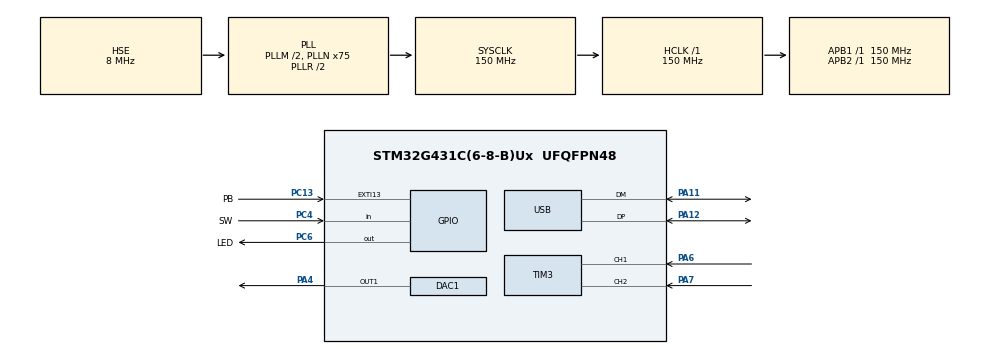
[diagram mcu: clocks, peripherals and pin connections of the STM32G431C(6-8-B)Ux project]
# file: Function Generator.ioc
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DAC1.DAC_OutputBuffer-DAC_OUT1=DAC_OUTPUTBUFFER_DISABLE
DAC1.DAC_Trigger_OUT1-DAC_OUT1=DAC_TRIGGER_T2_TRGO
Dma.DAC1_CH1.0.Direction=DMA_MEMORY_TO_PERIPH
Dma.DAC1_CH1.0.EventEnable=DISABLE
Dma.DAC1_CH1.0.Instance=DMA1_Channel1
Dma.DAC1_CH1.0.MemDataAlignment=DMA_MDATAALIGN_HALFWORD
Dma.DAC1_CH1.0.MemInc=DMA_MINC_ENABLE
Dma.DAC1_CH1.0.Mode=DMA_CIRCULAR
Dma.DAC1_CH1.0.PeriphDataAlignment=DMA_PDATAALIGN_WORD
Dma.DAC1_CH1.0.PeriphInc=DMA_PINC_DISABLE
Dma.DAC1_CH1.0.Polarity=HAL_DMAMUX_REQ_GEN_RISING
Dma.DAC1_CH1.0.Priority=DMA_PRIORITY_VERY_HIGH
Dma.DAC1_CH1.0.RequestNumber=1
Dma.DAC1_CH1.0.SignalID=NONE
Dma.DAC1_CH1.0.SyncEnable=DISABLE
Dma.DAC1_CH1.0.SyncPolarity=HAL_DMAMUX_SYNC_NO_EVENT
Dma.DAC1_CH1.0.SyncRequestNumber=1
Dma.DAC1_CH1.0.SyncSignalID=NONE
Dma.Request0=DAC1_CH1
Mcu.Family=STM32G4
Mcu.Name=STM32G431C(6-8-B)Ux
Mcu.Package=UFQFPN48
NVIC.DMA1_Channel1_IRQn=true\:0\:0\:false\:false\:true\:false\:true\:true
NVIC.EXTI15_10_IRQn=true\:0\:0\:false\:false\:true\:true\:true\:true
NVIC.PriorityGroup=NVIC_PRIORITYGROUP_4
NVIC.USB_HP_IRQn=true\:0\:0\:false\:false\:true\:true\:true\:true
NVIC.USB_LP_IRQn=true\:0\:0\:false\:false\:true\:false\:true\:true
PA11.Mode=Device
PA11.Signal=USB_DM
PA12.Mode=Device
PA12.Signal=USB_DP
PA4.Signal=COMP_DAC11_group
PA6.Signal=S_TIM3_CH1
PA7.Signal=S_TIM3_CH2
PC13.GPIO_Label=PB
PC13.GPIO_PuPd=GPIO_PULLDOWN
PC13.Signal=GPXTI13
PC4.GPIO_Label=SW
PC4.GPIO_PuPd=GPIO_PULLUP
PC4.Signal=GPIO_Input
PC6.GPIO_Label=LED
PC6.Signal=GPIO_Output
PF0-OSC_IN.Mode=HSE-External-Oscillator
PF0-OSC_IN.Signal=RCC_OSC_IN
PF1-OSC_OUT.Mode=HSE-External-Oscillator
PF1-OSC_OUT.Signal=RCC_OSC_OUT
ProjectManager.HeapSize=0x200
ProjectManager.StackSize=0x400
ProjectManager.TargetToolchain=STM32CubeIDE
RCC.ADC12Freq_Value=150000000
RCC.AHBFreq_Value=150000000
RCC.APB1Freq_Value=150000000
RCC.APB1TimFreq_Value=150000000
RCC.APB2Freq_Value=150000000
RCC.APB2TimFreq_Value=150000000
RCC.CK48CLockSelection=RCC_USBCLKSOURCE_HSI48
RCC.CortexFreq_Value=150000000
RCC.EXTERNAL_CLOCK_VALUE=12288000
RCC.HCLKFreq_Value=150000000
RCC.HSE_VALUE=8000000
RCC.HSI48_VALUE=48000000
RCC.HSI_VALUE=16000000
RCC.LSE_VALUE=32768
RCC.PLLM=RCC_PLLM_DIV2
RCC.PLLN=75
RCC.PLLSourceVirtual=RCC_PLLSOURCE_HSE
RCC.SYSCLKFreq_VALUE=150000000
RCC.SYSCLKSource=RCC_SYSCLKSOURCE_PLLCLK
RCC.USBFreq_Value=48000000
RCC.VCOOutputFreq_Value=300000000
SH.COMP_DAC11_group.0=DAC1_OUT1,DAC_OUT1
SH.S_TIM3_CH1.0=TIM3_CH1,Encoder_Interface
SH.S_TIM3_CH2.0=TIM3_CH2,Encoder_Interface
TIM2.PeriodNoDither=5
TIM2.TIM_MasterOutputTrigger=TIM_TRGO_UPDATE
USB_DEVICE.CLASS_NAME_FS=CDC
USB_DEVICE.VirtualMode=Cdc
USB_DEVICE.VirtualModeFS=Cdc_FS
VP_SYS_VS_DBSignals.Mode=DisableDeadBatterySignals
VP_TIM2_VS_ClockSourceINT.Mode=Internal
VP_USB_DEVICE_VS_USB_DEVICE_CDC_FS.Mode=CDC_FS
board=custom

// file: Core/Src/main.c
/* USER CODE BEGIN Header */
/**
 ******************************************************************************
 * @file           : main.c
 * @brief          : Main program body
 ******************************************************************************
 * @attention
 *
 * Copyright (c) 2025 STMicroelectronics.
 * All rights reserved.
 *
 * This software is licensed under terms that can be found in the LICENSE file
 * in the root directory of this software component.
 * If no LICENSE file comes with this software, it is provided AS-IS.
 *
 ******************************************************************************
 */
/* USER CODE END Header */
#include "main.h"
#include "usb_device.h"

/* USER CODE BEGIN Includes */
#include "usbd_cdc_if.h"
#include <stdio.h>
#include <string.h>
#include <stdbool.h>
#include "waveGen.h"
/* USER CODE END Includes */

#define MIN_FREQ 1      // Minimum frequency in Hz
#define MAX_FREQ 25000  // Maximum frequency in Hz
#define WAVE_SAMPLES 500  // Number of samples in waveform LUT

/* NOTE: 'freq' variable below actually stores the TIM2 ARR value. */
#define CALCULATE_ACTUAL_FREQ(arr_val) ((SystemCoreClock) / (WAVE_SAMPLES * ((uint32_t)(arr_val) + 1U)))

/* Rounded inverse: best ARR for desired_freq. Guards against div-by-zero in caller. */
#define CALCULATE_ARR_FROM_FREQ(desired_freq) \
  ((uint32_t)((((uint64_t)SystemCoreClock + (uint64_t)(WAVE_SAMPLES * (desired_freq) / 2)) / (uint64_t)(WAVE_SAMPLES * (desired_freq))) - 1U))

DAC_HandleTypeDef hdac1;
DMA_HandleTypeDef hdma_dac1_ch1;

TIM_HandleTypeDef htim2;
TIM_HandleTypeDef htim3;

/* USER CODE BEGIN PV */
uint8_t count = 0;
uint8_t count_inc = 1;
/* LUT size is 500 but DAC data register is 12-bit; keep data width consistent in your generators */
uint32_t wave_lut[500];

volatile bool bt_flag = false;
volatile uint32_t last_button_press = 0;
volatile uint32_t debounce_delay = 300;

/* 'freq' holds TIM2->ARR (not Hertz). Start with a small ARR to get a usable sample rate. */
uint32_t freq = 15; // Default ARR value
uint8_t inc = 1;
uint16_t currentEncoderCount = 0;
uint16_t lastEncoderCount = 0;
/* USER CODE END PV */

void SystemClock_Config(void);
static void MX_GPIO_Init(void);
static void MX_DMA_Init(void);
static void MX_DAC1_Init(void);
static void MX_TIM2_Init(void);
static void MX_TIM3_Init(void);

int main(void)
{

  /* MCU Configuration--------------------------------------------------------*/

  /* Reset of all peripherals, Initializes the Flash interface and the Systick. */
  HAL_Init();

  /* Configure the system clock */
  SystemClock_Config();

  /* Initialize all configured peripherals */
  MX_GPIO_Init();
  MX_DMA_Init();
  MX_USB_Device_Init();
  MX_DAC1_Init();
  MX_TIM2_Init();
  MX_TIM3_Init();
  /* USER CODE BEGIN 2 */
  HAL_TIM_Base_Start(&htim2);
  /* Use current ARR 'freq' */
  htim2.Instance->ARR = freq;

  lastEncoderCount = TIM3->CNT;
  HAL_TIM_Encoder_Start(&htim3, TIM_CHANNEL_ALL);
  /* USER CODE END 2 */

  /* Infinite loop */
  while (1)
  {

    /* USER CODE BEGIN 3 */
    currentEncoderCount = TIM3->CNT;
    int16_t delta = (int16_t)(currentEncoderCount - lastEncoderCount);

    if (delta != 0)
    {
      /* ALWAYS update encoder snapshot first to avoid drift */
      lastEncoderCount = currentEncoderCount;

      /* Current realized waveform frequency (Hz) from ARR */
      uint32_t actual_freq = CALCULATE_ACTUAL_FREQ(freq);

      /* Step size in Hz based on current frequency decade */
      uint32_t step = (actual_freq < 100U) ? 1U : (actual_freq < 1000U) ? 10U : 100U;

      /* Compute desired new frequency with clamping */
      uint32_t desired_freq;
      if (delta > 0)
      {
        /* Increase frequency */
        desired_freq = (actual_freq >= MAX_FREQ - step) ? MAX_FREQ : (actual_freq + step);
      }
      else
      {
        /* Decrease frequency */
        desired_freq = (actual_freq <= MIN_FREQ + step) ? MIN_FREQ : (actual_freq - step);
      }

      /* Guard against zero/underflow */
      if (desired_freq < MIN_FREQ) desired_freq = MIN_FREQ;

      /* Compute best ARR for the desired frequency (rounded) */
      uint32_t new_arr = CALCULATE_ARR_FROM_FREQ(desired_freq);

      /* If quantization results in no ARR change, force a one-tick move in the direction */
      if (new_arr == freq)
      {
        if (delta > 0)
        {
          /* Going faster ⇒ smaller ARR if possible */
          if (new_arr > 0U) { new_arr -= 1U; }
        }
        else
        {
          /* Going slower ⇒ larger ARR (watch 32-bit overflow) */
          if (new_arr < 0xFFFFFFFFU) { new_arr += 1U; }
        }
      }

      /* Safety: recalc the actual frequency we will get (for printout only) */
      uint32_t new_actual = CALCULATE_ACTUAL_FREQ(new_arr);

      /* Update timer only if ARR really changes */
      if (new_arr != freq)
      {
        __HAL_TIM_DISABLE(&htim2);
        htim2.Instance->ARR = new_arr;
        htim2.Instance->CNT = 0;
        __HAL_TIM_ENABLE(&htim2);

        freq = new_arr; /* Track current ARR */
        printf("Frequency: %lu Hz (ARR: %lu)\n", (unsigned long)new_actual, (unsigned long)new_arr);
      }

      /* Debounce/pace encoder servicing */
      HAL_Delay(50);
    }

    /* Pushbutton handling (debounced, toggles waveform) */
    if (!HAL_GPIO_ReadPin(SW_GPIO_Port, SW_Pin))
    {
      uint32_t current_time = HAL_GetTick();

      if (current_time - last_button_press > debounce_delay)
      {
        last_button_press = current_time;
        bt_flag = !bt_flag; // Toggle the flag
        count++;
        if (count > 4) // Reset count if it exceeds 4
        {
          count = 1;
        }
      }
    }

    if (bt_flag)
    {
      switch (count)
      {
      case 1:
        printf("Sine Wave\n");
        sinWave();
        break;
      case 2:
        printf("Square Wave\n");
        squareWave();
        break;
      case 3:
        printf("Triangle Wave\n");
        triangleWave();
        break;
      case 4:
        printf("Sawtooth Wave\n");
        sawtoothWave();
        break;
      default:
        count = 1;
        printf("Resetting Waveform\n");
        break;
      }
      bt_flag = false;
      HAL_GPIO_TogglePin(LED_GPIO_Port, LED_Pin);
    }
  }
  /* USER CODE END 3 */
}

void SystemClock_Config(void)
{
  RCC_OscInitTypeDef RCC_OscInitStruct = {0};
  RCC_ClkInitTypeDef RCC_ClkInitStruct = {0};

  /** Configure the main internal regulator output voltage
  */
  HAL_PWREx_ControlVoltageScaling(PWR_REGULATOR_VOLTAGE_SCALE1);

  /** Initializes the RCC Oscillators according to the specified parameters
  * in the RCC_OscInitTypeDef structure.
  */
  RCC_OscInitStruct.OscillatorType = RCC_OSCILLATORTYPE_HSI48|RCC_OSCILLATORTYPE_HSE;
  RCC_OscInitStruct.HSEState = RCC_HSE_ON;
  RCC_OscInitStruct.HSI48State = RCC_HSI48_ON;
  RCC_OscInitStruct.PLL.PLLState = RCC_PLL_ON;
  RCC_OscInitStruct.PLL.PLLSource = RCC_PLLSOURCE_HSE;
  RCC_OscInitStruct.PLL.PLLM = RCC_PLLM_DIV2;
  RCC_OscInitStruct.PLL.PLLN = 75;
  RCC_OscInitStruct.PLL.PLLP = RCC_PLLP_DIV2;
  RCC_OscInitStruct.PLL.PLLQ = RCC_PLLQ_DIV2;
  RCC_OscInitStruct.PLL.PLLR = RCC_PLLR_DIV2;
  if (HAL_RCC_OscConfig(&RCC_OscInitStruct) != HAL_OK)
  {
    Error_Handler();
  }

  /** Initializes the CPU, AHB and APB buses clocks
  */
  RCC_ClkInitStruct.ClockType = RCC_CLOCKTYPE_HCLK|RCC_CLOCKTYPE_SYSCLK
                              |RCC_CLOCKTYPE_PCLK1|RCC_CLOCKTYPE_PCLK2;
  RCC_ClkInitStruct.SYSCLKSource = RCC_SYSCLKSOURCE_PLLCLK;
  RCC_ClkInitStruct.AHBCLKDivider = RCC_SYSCLK_DIV1;
  RCC_ClkInitStruct.APB1CLKDivider = RCC_HCLK_DIV1;
  RCC_ClkInitStruct.APB2CLKDivider = RCC_HCLK_DIV1;

  if (HAL_RCC_ClockConfig(&RCC_ClkInitStruct, FLASH_LATENCY_4) != HAL_OK)
  {
    Error_Handler();
  }
}

static void MX_DAC1_Init(void)
{

  DAC_ChannelConfTypeDef sConfig = {0};

  /** DAC Initialization
  */
  hdac1.Instance = DAC1;
  if (HAL_DAC_Init(&hdac1) != HAL_OK)
  {
    Error_Handler();
  }

  /** DAC channel OUT1 config
  */
  sConfig.DAC_HighFrequency = DAC_HIGH_FREQUENCY_INTERFACE_MODE_AUTOMATIC;
  sConfig.DAC_DMADoubleDataMode = DISABLE;
  sConfig.DAC_SignedFormat = DISABLE;
  sConfig.DAC_SampleAndHold = DAC_SAMPLEANDHOLD_DISABLE;
  sConfig.DAC_Trigger = DAC_TRIGGER_T2_TRGO;
  sConfig.DAC_Trigger2 = DAC_TRIGGER_NONE;
  sConfig.DAC_OutputBuffer = DAC_OUTPUTBUFFER_DISABLE;
  sConfig.DAC_ConnectOnChipPeripheral = DAC_CHIPCONNECT_EXTERNAL;
  sConfig.DAC_UserTrimming = DAC_TRIMMING_FACTORY;
  if (HAL_DAC_ConfigChannel(&hdac1, &sConfig, DAC_CHANNEL_1) != HAL_OK)
  {
    Error_Handler();
  }

}

static void MX_TIM2_Init(void)
{

  TIM_ClockConfigTypeDef sClockSourceConfig = {0};
  TIM_MasterConfigTypeDef sMasterConfig = {0};

  htim2.Instance = TIM2;
  htim2.Init.Prescaler = 0;
  htim2.Init.CounterMode = TIM_COUNTERMODE_UP;
  htim2.Init.Period = 5;
  htim2.Init.ClockDivision = TIM_CLOCKDIVISION_DIV1;
  htim2.Init.AutoReloadPreload = TIM_AUTORELOAD_PRELOAD_DISABLE;
  if (HAL_TIM_Base_Init(&htim2) != HAL_OK)
  {
    Error_Handler();
  }
  sClockSourceConfig.ClockSource = TIM_CLOCKSOURCE_INTERNAL;
  if (HAL_TIM_ConfigClockSource(&htim2, &sClockSourceConfig) != HAL_OK)
  {
    Error_Handler();
  }
  sMasterConfig.MasterOutputTrigger = TIM_TRGO_UPDATE;
  sMasterConfig.MasterSlaveMode = TIM_MASTERSLAVEMODE_DISABLE;
  if (HAL_TIMEx_MasterConfigSynchronization(&htim2, &sMasterConfig) != HAL_OK)
  {
    Error_Handler();
  }

}

static void MX_TIM3_Init(void)
{

  TIM_Encoder_InitTypeDef sConfig = {0};
  TIM_MasterConfigTypeDef sMasterConfig = {0};

  htim3.Instance = TIM3;
  htim3.Init.Prescaler = 0;
  htim3.Init.CounterMode = TIM_COUNTERMODE_UP;
  htim3.Init.Period = 65535;
  htim3.Init.ClockDivision = TIM_CLOCKDIVISION_DIV1;
  htim3.Init.AutoReloadPreload = TIM_AUTORELOAD_PRELOAD_DISABLE;
  sConfig.EncoderMode = TIM_ENCODERMODE_TI12;  // Changed to TI12 for quadrature decoding
  sConfig.IC1Polarity = TIM_ICPOLARITY_RISING;
  sConfig.IC1Selection = TIM_ICSELECTION_DIRECTTI;
  sConfig.IC1Prescaler = TIM_ICPSC_DIV1;
  sConfig.IC1Filter = 10;  // Added filter for noise
  sConfig.IC2Polarity = TIM_ICPOLARITY_RISING;
  sConfig.IC2Selection = TIM_ICSELECTION_DIRECTTI;
  sConfig.IC2Prescaler = TIM_ICPSC_DIV1;
  sConfig.IC2Filter = 10;  // Added filter for noise
  if (HAL_TIM_Encoder_Init(&htim3, &sConfig) != HAL_OK)
  {
    Error_Handler();
  }
  sMasterConfig.MasterOutputTrigger = TIM_TRGO_RESET;
  sMasterConfig.MasterSlaveMode = TIM_MASTERSLAVEMODE_DISABLE;
  if (HAL_TIMEx_MasterConfigSynchronization(&htim3, &sMasterConfig) != HAL_OK)
  {
    Error_Handler();
  }

}

static void MX_DMA_Init(void)
{

  /* DMA controller clock enable */
  __HAL_RCC_DMAMUX1_CLK_ENABLE();
  __HAL_RCC_DMA1_CLK_ENABLE();

  /* DMA interrupt init */
  /* DMA1_Channel1_IRQn interrupt configuration */
  HAL_NVIC_SetPriority(DMA1_Channel1_IRQn, 0, 0);
  HAL_NVIC_EnableIRQ(DMA1_Channel1_IRQn);

}

static void MX_GPIO_Init(void)
{
  GPIO_InitTypeDef GPIO_InitStruct = {0};

  /* GPIO Ports Clock Enable */
  __HAL_RCC_GPIOC_CLK_ENABLE();
  __HAL_RCC_GPIOF_CLK_ENABLE();
  __HAL_RCC_GPIOA_CLK_ENABLE();
  __HAL_RCC_GPIOB_CLK_ENABLE();  // Added for TIM3 pins if needed

  /*Configure GPIO pin Output Level */
  HAL_GPIO_WritePin(LED_GPIO_Port, LED_Pin, GPIO_PIN_RESET);

  /*Configure GPIO pins : PA6 PA7 (for TIM3 Encoder Channels) */
  GPIO_InitStruct.Pin = GPIO_PIN_6|GPIO_PIN_7;
  GPIO_InitStruct.Mode = GPIO_MODE_AF_PP;
  GPIO_InitStruct.Pull = GPIO_NOPULL;  // No internal pull since external pull-ups are assumed
  GPIO_InitStruct.Speed = GPIO_SPEED_FREQ_LOW;
  GPIO_InitStruct.Alternate = GPIO_AF2_TIM3;  // Alternate function for TIM3
  HAL_GPIO_Init(GPIOA, &GPIO_InitStruct);

  /*Configure GPIO pin : PB_Pin */
  GPIO_InitStruct.Pin = PB_Pin;
  GPIO_InitStruct.Mode = GPIO_MODE_IT_RISING;
  GPIO_InitStruct.Pull = GPIO_PULLDOWN;
  HAL_GPIO_Init(PB_GPIO_Port, &GPIO_InitStruct);

  /*Configure GPIO pin : SW_Pin */
  GPIO_InitStruct.Pin = SW_Pin;
  GPIO_InitStruct.Mode = GPIO_MODE_INPUT;
  GPIO_InitStruct.Pull = GPIO_PULLUP;
  HAL_GPIO_Init(SW_GPIO_Port, &GPIO_InitStruct);

  /*Configure GPIO pin : LED_Pin */
  GPIO_InitStruct.Pin = LED_Pin;
  GPIO_InitStruct.Mode = GPIO_MODE_OUTPUT_PP;
  GPIO_InitStruct.Pull = GPIO_NOPULL;
  GPIO_InitStruct.Speed = GPIO_SPEED_FREQ_LOW;
  HAL_GPIO_Init(LED_GPIO_Port, &GPIO_InitStruct);

  /* EXTI interrupt init*/
  HAL_NVIC_SetPriority(EXTI15_10_IRQn, 0, 0);
  HAL_NVIC_EnableIRQ(EXTI15_10_IRQn);

}

/* USER CODE BEGIN 4 */
// void HAL_GPIO_EXTI_Callback(uint16_t GPIO_Pin)
// {
//   if (GPIO_Pin == PB_Pin)
//   {
//     uint32_t current_time = HAL_GetTick();

//     // Debouncing: only process if enough time has passed
//     if (current_time - last_button_press > debounce_delay)
//     {
//       last_button_press = current_time;
//       bt_flag = !bt_flag; // Toggle the flag
//       count++;
//       if (count > 4) // Reset count if it exceeds 4
//       {
//         count = 1;
//       }
//     }
//   }
// }

int _write(int file, char *ptr, int len)
{
  uint32_t timeout = HAL_GetTick() + 100; // 100ms timeout
  while (HAL_GetTick() < timeout)
  {
    if (CDC_Transmit_FS((uint8_t *)ptr, len) == USBD_OK)
    {
      return len;
    }
    HAL_Delay(1);
  }
  return -1; // Error: USB not ready or timeout
}
/* USER CODE END 4 */

void Error_Handler(void)
{
  __disable_irq();
  while (1)
  {
  }
}
